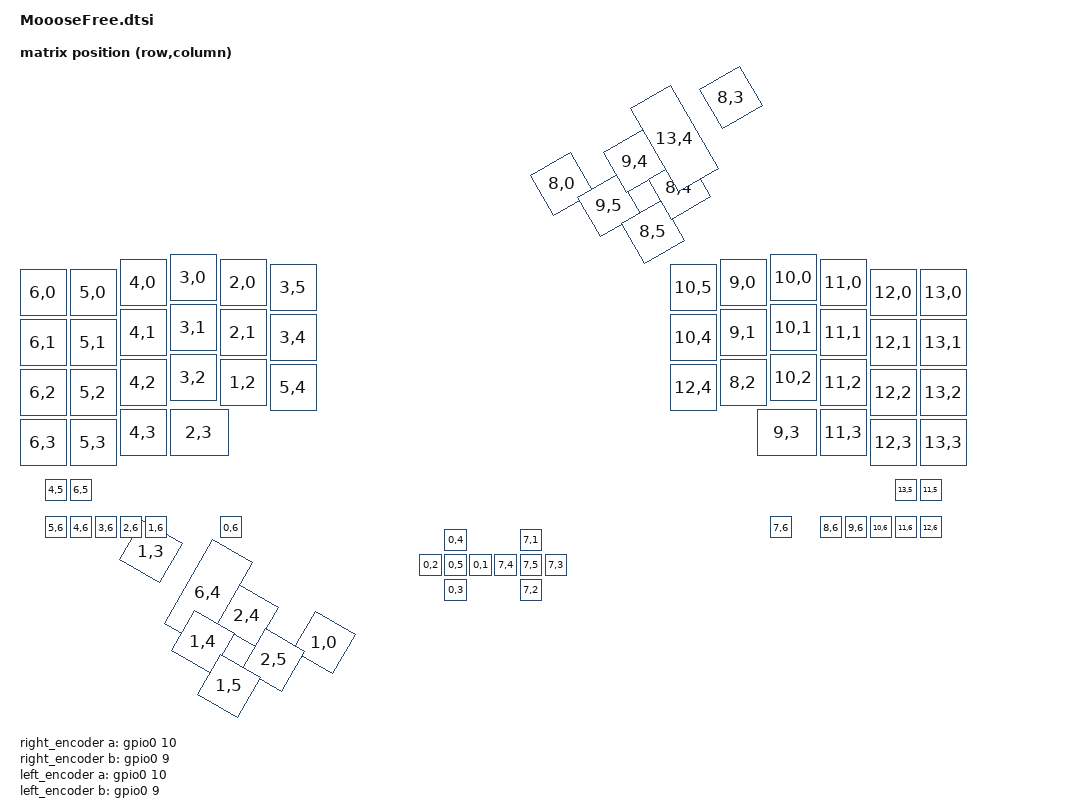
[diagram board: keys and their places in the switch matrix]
#include <dt-bindings/zmk/matrix_transform.h>
#include <dt-bindings/input/input-event-codes.h>
#include <dt-bindings/zmk/input_transform.h>
#include <input/processors.dtsi>
#include <physical_layouts.dtsi>

#define ARROW 1
#define NUM 2
#define AHK 3
#define FUNCTION 4
#define TRACKBALL_L 5
#define SCROLL_L 6

&gpio0 {
    status = "okay";
};

/ {
    chosen {
        zmk,physical-layout = &MoooseFree_physical_layout;
    };

    MoooseFree_physical_layout: MoooseFree_physical_layout {
        compatible = "zmk,physical-layout";
        display-name = "Default";
        transform = <&default_transform>;
        kscan = <&kscan0>;

        keys  //                     w   h    x    y     rot    rx    ry
            = <&key_physical_attrs 100 100    0   30       0     0     0>
            , <&key_physical_attrs 100 100  100   30       0     0     0>
            , <&key_physical_attrs 100 100  200   10       0     0     0>
            , <&key_physical_attrs 100 100  300    0       0     0     0>
            , <&key_physical_attrs 100 100  400   10       0     0     0>
            , <&key_physical_attrs 100 100  500   20       0     0     0>
            , <&key_physical_attrs  50  50  900  600       0     0     0>
            , <&key_physical_attrs 100 100    0  130       0     0     0>
            , <&key_physical_attrs 100 100  100  130       0     0     0>
            , <&key_physical_attrs 100 100  200  110       0     0     0>
            , <&key_physical_attrs 100 100  300  100       0     0     0>
            , <&key_physical_attrs 100 100  400  110       0     0     0>
            , <&key_physical_attrs 100 100  500  120       0     0     0>
            , <&key_physical_attrs  50  50  800  600       0     0     0>
            , <&key_physical_attrs 100 100    0  230       0     0     0>
            , <&key_physical_attrs 100 100  100  230       0     0     0>
            , <&key_physical_attrs 100 100  200  210       0     0     0>
            , <&key_physical_attrs 100 100  300  200       0     0     0>
            , <&key_physical_attrs 100 100  400  210       0     0     0>
            , <&key_physical_attrs 100 100  500  220       0     0     0>
            , <&key_physical_attrs 100 100  870  320    3000     0     0>
            , <&key_physical_attrs  50  50  850  650       0     0     0>
            , <&key_physical_attrs 100 100    0  330       0     0     0>
            , <&key_physical_attrs 100 100  100  330       0     0     0>
            , <&key_physical_attrs 100 100  200  310       0     0     0>
            , <&key_physical_attrs 125 100  300  310       0     0     0>
            , <&key_physical_attrs 100 100  710  350    3000     0     0>
            , <&key_physical_attrs 100 100  800  400    3000     0     0>
            , <&key_physical_attrs  50  50  850  550       0     0     0>
            , <&key_physical_attrs 100 100  480  335    3000     0     0>
            , <&key_physical_attrs 100 200  620  300    3000     0     0>
            , <&key_physical_attrs 100 100  660  440    3000     0     0>
            , <&key_physical_attrs 100 100  750  490    3000     0     0>
            , <&key_physical_attrs  50  50  850  600       0     0     0>
            , <&key_physical_attrs  50  50   50  450       0     0     0>
            , <&key_physical_attrs  50  50  100  450       0     0     0>
            , <&key_physical_attrs  50  50   50  525       0     0     0>
            , <&key_physical_attrs  50  50  100  525       0     0     0>
            , <&key_physical_attrs  50  50  150  525       0     0     0>
            , <&key_physical_attrs  50  50  200  525       0     0     0>
            , <&key_physical_attrs  50  50  250  525       0     0     0>
            , <&key_physical_attrs  50  50  400  525       0     0     0>
            , <&key_physical_attrs  50  50 1000  550       0     0     0>
            , <&key_physical_attrs 100 100 1300   20       0     0     0>
            , <&key_physical_attrs 100 100 1400   10       0     0     0>
            , <&key_physical_attrs 100 100 1500    0       0     0     0>
            , <&key_physical_attrs 100 100 1600   10       0     0     0>
            , <&key_physical_attrs 100 100 1700   30       0     0     0>
            , <&key_physical_attrs 100 100 1800   30       0     0     0>
            , <&key_physical_attrs  50  50 1000  650       0     0     0>
            , <&key_physical_attrs 100 100 1300  120       0     0     0>
            , <&key_physical_attrs 100 100 1400  110       0     0     0>
            , <&key_physical_attrs 100 100 1500  100       0     0     0>
            , <&key_physical_attrs 100 100 1600  110       0     0     0>
            , <&key_physical_attrs 100 100 1700  130       0     0     0>
            , <&key_physical_attrs 100 100 1800  130       0     0     0>
            , <&key_physical_attrs  50  50 1050  600       0     0     0>
            , <&key_physical_attrs 100 100  960  375 (-3000)     0     0>
            , <&key_physical_attrs 100 100 1300  220       0     0     0>
            , <&key_physical_attrs 100 100 1400  210       0     0     0>
            , <&key_physical_attrs 100 100 1500  200       0     0     0>
            , <&key_physical_attrs 100 100 1600  210       0     0     0>
            , <&key_physical_attrs 100 100 1700  230       0     0     0>
            , <&key_physical_attrs 100 100 1800  230       0     0     0>
            , <&key_physical_attrs  50  50  950  600       0     0     0>
            , <&key_physical_attrs 100 100 1020  460 (-3000)     0     0>
            , <&key_physical_attrs 100 100 1110  410 (-3000)     0     0>
            , <&key_physical_attrs 125 100 1475  310       0     0     0>
            , <&key_physical_attrs 100 100 1600  310       0     0     0>
            , <&key_physical_attrs 100 100 1700  330       0     0     0>
            , <&key_physical_attrs 100 100 1800  330       0     0     0>
            , <&key_physical_attrs  50  50 1000  600       0     0     0>
            , <&key_physical_attrs 100 100 1070  550 (-3000)     0     0>
            , <&key_physical_attrs 100 100 1160  500 (-3000)     0     0>
            , <&key_physical_attrs 100 200 1200  360 (-3000)     0     0>
            , <&key_physical_attrs 100 100 1340  395 (-3000)     0     0>
            , <&key_physical_attrs  50  50 1500  525       0     0     0>
            , <&key_physical_attrs  50  50 1600  525       0     0     0>
            , <&key_physical_attrs  50  50 1650  525       0     0     0>
            , <&key_physical_attrs  50  50 1700  525       0     0     0>
            , <&key_physical_attrs  50  50 1750  525       0     0     0>
            , <&key_physical_attrs  50  50 1800  525       0     0     0>
            , <&key_physical_attrs  50  50 1750  450       0     0     0>
            , <&key_physical_attrs  50  50 1800  450       0     0     0>
            ;
    };

    kscan0: kscan_0 {
        compatible = "zmk,kscan-gpio-charlieplex";
        gpios
            = <&xiao_d 9 GPIO_ACTIVE_HIGH>
            , <&xiao_d 1 GPIO_ACTIVE_HIGH>
            , <&xiao_d 2 GPIO_ACTIVE_HIGH>
            , <&xiao_d 3 GPIO_ACTIVE_HIGH>
            , <&xiao_d 7 GPIO_ACTIVE_HIGH>
            , <&xiao_d 8 GPIO_ACTIVE_HIGH>
            , <&xiao_d 10 GPIO_ACTIVE_HIGH>
            ;
        wakeup-source;
        interrupt-gpios = <&gpio1 11 (GPIO_ACTIVE_HIGH | GPIO_PULL_DOWN)>;
    };

    trackball_listener {
        compatible = "zmk,input-listener";
        device = <&trackball>;

        snipe_1 {
            layers = <ARROW>;
            input-processors = <&zip_xy_scaler 1 3>;
        };
        snipe_2 {
            layers = <NUM>;
            input-processors = <&zip_xy_scaler 1 3>;
        };
        scroller_1 {
            layers = <AHK>;
            input-processors = <&zip_xy_transform INPUT_TRANSFORM_Y_INVERT>,  <&zip_xy_scaler 1 30 >, <&zip_xy_to_scroll_mapper>;
        };
        scroller_2 {
            layers = <FUNCTION>;
            input-processors = <&zip_xy_transform INPUT_TRANSFORM_Y_INVERT>,  <&zip_xy_scaler 1 30 >, <&zip_xy_to_scroll_mapper>;
        };

    };

    default_transform: keymap_transform_0 {
        compatible = "zmk,matrix-transform";
        rows = <5>;
        columns = <12>;
        map = <
            RC(6,0)  RC(5,0)  RC(4,0)  RC(3,0)  RC(2,0)  RC(3,5)                    RC(0,1)
            RC(6,1)  RC(5,1)  RC(4,1)  RC(3,1)  RC(2,1)  RC(3,4)                    RC(0,2)
            RC(6,2)  RC(5,2)  RC(4,2)  RC(3,2)  RC(1,2)  RC(5,4)           RC(1,0)  RC(0,3)
            RC(6,3)  RC(5,3)  RC(4,3)  RC(2,3)                    RC(2,4)  RC(2,5)  RC(0,4)
                                                RC(1,3)  RC(6,4)  RC(1,4)  RC(1,5)  RC(0,5)
            RC(4,5)  RC(6,5)  RC(5,6)  RC(4,6)  RC(3,6)  RC(2,6)  RC(1,6)           RC(0,6)

            RC(7,1)                    RC(10,5)  RC(9,0)  RC(10,0)  RC(11,0)  RC(12,0)  RC(13,0)
            RC(7,2)                    RC(10,4)  RC(9,1)  RC(10,1)  RC(11,1)  RC(12,1)  RC(13,1)
            RC(7,3)  RC(8,0)           RC(12,4)  RC(8,2)  RC(10,2)  RC(11,2)  RC(12,2)  RC(13,2)
            RC(7,4)  RC(9,5)  RC(9,4)                     RC(9,3)   RC(11,3)  RC(12,3)  RC(13,3)
            RC(7,5)  RC(8,5)  RC(8,4)  RC(13,4)  RC(8,3)
            RC(7,6)           RC(8,6)  RC(9,6)   RC(10,6) RC(11,6)  RC(12,6)  RC(13,5)  RC(11,5)
        >;
    };

    right_encoder: encoder_right {
        compatible = "alps,ec11";
        a-gpios = <&gpio0 10 (GPIO_ACTIVE_HIGH | GPIO_PULL_UP)>;
        b-gpios = <&gpio0 9 (GPIO_ACTIVE_HIGH | GPIO_PULL_UP)>;
        steps = <24>;
        status = "disabled";
    };

    left_encoder: encoder_left {
        compatible = "alps,ec11";
        a-gpios = <&gpio0 10 (GPIO_ACTIVE_HIGH | GPIO_PULL_UP)>;
        b-gpios = <&gpio0 9 (GPIO_ACTIVE_HIGH | GPIO_PULL_UP)>;
        steps = <24>;
        status = "disabled";
    };

    sensors: sensors {
        compatible = "zmk,keymap-sensors";
        sensors = <&left_encoder &right_encoder>;
        triggers-per-rotation = <12>;
    };
};

&xiao_i2c { status = "disabled"; };
&xiao_serial { status = "disabled"; };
